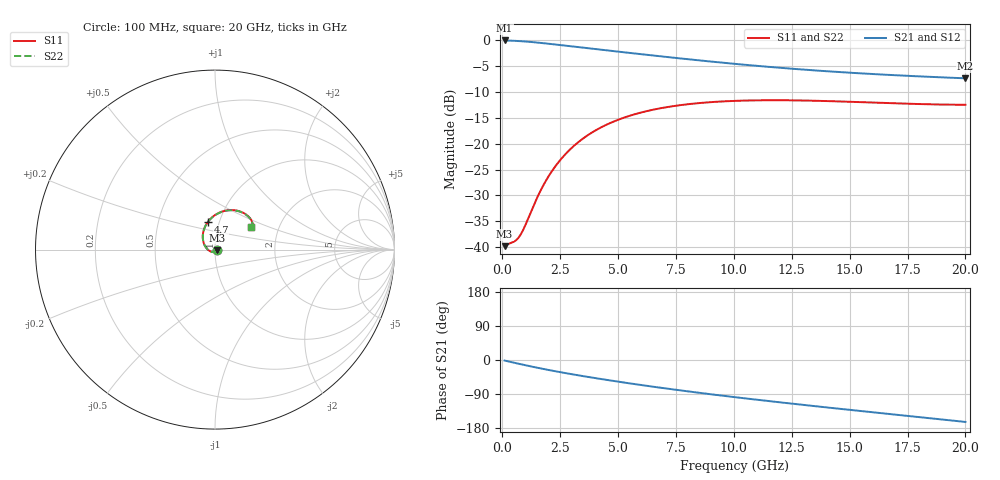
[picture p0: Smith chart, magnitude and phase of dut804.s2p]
! Touchstone file exported from HFSS 2024.1.0
!  File:  C:/UserFiles/LocalFiles/RDL_TSV_Batchsim/temp_RDL_TSV_804_1779911320.aedt
!  Generated:  04:02:55 AM May 28, 2026
!  Design:  RDL_TSV
!  Project:  temp_RDL_TSV_804_1779911320
!  Setup:  Setup1
!  Solution:  Sweep
! Variables:
!  dtsv = 7.66um
!  hbump = 3um
!  htsv = 82.46um
!  ldown = 264.2um
!  lrdl = 354.47um
!  p = 40
!  p1 = 48.28um
!  rhole = 10um
!  subl = 2210.48um
!  t = 450um
!  tdown = 3.87um
!  trdl = 2.93um
!  viad = 10um
!  wdown = 29.2um
!  wrdl = 28.08um
!  xbump = 18um
# GHz S MA R 50.000000
! Terminal data exported
! Port[1] = TM1_1_T1
! Port[2] = TM1_4_T1
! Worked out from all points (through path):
!   200 points, 100 MHz to 20 GHz, reference 50 ohm
!   highest |S21| = -0.09 dB at 100 MHz (marker M1); lowest = -7.4 dB at 20 GHz (marker M2)
!   group delay of S21, straight-line fit = 21.5 ps
!   lowest |S11| = -39.8 dB at 100 MHz (marker M3), VSWR 1.02, Z = 51 - j0.142 ohm
!   |S11| at or under -10 dB: start of sweep to end of sweep
!   |S22| runs from -39.8 to -11.7 dB; largest |S21 - S12| = 1.9e-14
!   S11 on the Smith chart (normalised r, x): 100 MHz: 1.02, -0.00; 4.7 GHz: 0.88, +0.28; 20 GHz: 1.44, +0.39
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0.1  0.01025 -7.8  0.9894 -1.5  0.9894 -1.5  0.01025 -7.8
! Gamma 0 0 0 0
! Port Impedance 50 0 50 0
0.5  0.01132 -54.5  0.9821 -7.1  0.9821 -7.1  0.01133 -54.5
0.7  0.01236 -82.8  0.9768 -9.8  0.9768 -9.8  0.01238 -82.6
0.9  0.0147 -109.7  0.9703 -12.5  0.9703 -12.5  0.0147 -109.5
1.6  0.0333 -170.2  0.9403 -21.6  0.9403 -21.6  0.0332 -170.0
1.8  0.04061 179.3  0.9303 -24.0  0.9303 -24.0  0.04047 179.4
2.1  0.05249 166.3  0.9149 -27.5  0.9149 -27.5  0.05229 166.4
2.4  0.06508 155.5  0.8992 -31.0  0.8992 -31.0  0.06482 155.6
2.7  0.07805 146.2  0.8834 -34.3  0.8834 -34.3  0.07772 146.3
3.1  0.09545 135.6  0.8627 -38.5  0.8627 -38.5  0.09504 135.7
3.5  0.1126 126.4  0.8425 -42.7  0.8425 -42.7  0.1121 126.5
4.1  0.137 114.5  0.8133 -48.6  0.8133 -48.6  0.1364 114.6
4.7  0.1595 104.4  0.7854 -54.3  0.7854 -54.3  0.1587 104.4
5.7  0.1915 90.3  0.7415 -63.4  0.7415 -63.4  0.1906 90.4
6.8  0.2188 77.8  0.6969 -72.9  0.6969 -72.9  0.2178 77.8
8.4  0.245 63.5  0.639 -85.8  0.639 -85.8  0.2438 63.5
10.1  0.2588 52.1  0.5866 -98.5  0.5866 -98.5  0.2574 52.1
11.7  0.2623 44.1  0.5458 -109.7  0.5458 -109.7  0.2609 44.0
13.4  0.2595 37.9  0.5104 -121.1  0.5104 -121.1  0.2581 37.9
15  0.2535 34.1  0.4835 -131.6  0.4835 -131.6  0.2521 34.1
16.7  0.2459 31.9  0.4603 -142.4  0.4603 -142.4  0.2445 31.9
20  0.237 32.3  0.4268 -163.4  0.4268 -163.4  0.2357 32.3
